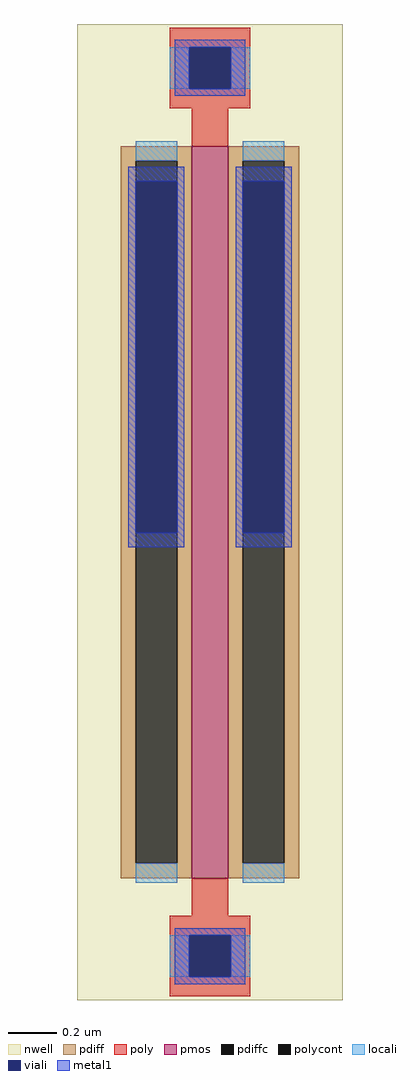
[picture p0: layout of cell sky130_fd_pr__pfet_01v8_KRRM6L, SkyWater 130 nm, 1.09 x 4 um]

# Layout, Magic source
magic
tech sky130A
magscale 1 2
<< nwell >>
rect -109 -400 109 400
<< pmos >>
rect -15 -300 15 300
<< pdiff >>
rect -73 288 -15 300
rect -73 -288 -61 288
rect -27 -288 -15 288
rect -73 -300 -15 -288
rect 15 288 73 300
rect 15 -288 27 288
rect 61 -288 73 288
rect 15 -300 73 -288
<< pdiffc >>
rect -61 -288 -27 288
rect 27 -288 61 288
<< poly >>
rect -33 381 33 397
rect -33 347 -17 381
rect 17 347 33 381
rect -33 331 33 347
rect -15 300 15 331
rect -15 -331 15 -300
rect -33 -347 33 -331
rect -33 -381 -17 -347
rect 17 -381 33 -347
rect -33 -397 33 -381
<< polycont >>
rect -17 347 17 381
rect -17 -381 17 -347
<< locali >>
rect -33 347 -17 381
rect 17 347 33 381
rect -61 288 -27 304
rect -61 -304 -27 -288
rect 27 288 61 304
rect 27 -304 61 -288
rect -33 -381 -17 -347
rect 17 -381 33 -347
<< viali >>
rect -17 347 17 381
rect -61 -17 -27 271
rect 27 -17 61 271
rect -17 -381 17 -347
<< metal1 >>
rect -29 381 29 387
rect -29 347 -17 381
rect 17 347 29 381
rect -29 341 29 347
rect -67 271 -21 283
rect -67 -17 -61 271
rect -27 -17 -21 271
rect -67 -29 -21 -17
rect 21 271 67 283
rect 21 -17 27 271
rect 61 -17 67 271
rect 21 -29 67 -17
rect -29 -347 29 -341
rect -29 -381 -17 -347
rect 17 -381 29 -347
rect -29 -387 29 -381
<< properties >>
string gencell sky130_fd_pr__pfet_01v8
string library sky130
string parameters w 3.0 l 0.15 m 1 nf 1 diffcov 100 polycov 100 guard 0 glc 1 grc 1 gtc 1 gbc 1 tbcov 100 rlcov 100 topc 1 botc 1 poverlap 0 doverlap 1 lmin 0.15 wmin 0.42 compatible {sky130_fd_pr__pfet_01v8  sky130_fd_pr__pfet_01v8_lvt sky130_fd_pr__pfet_01v8_hvt  sky130_fd_pr__pfet_g5v0d10v5} full_metal 1 viasrc -50 viadrn -50 viagate 100 viagb 0 viagr 0 viagl 0 viagt 0
<< end >>
